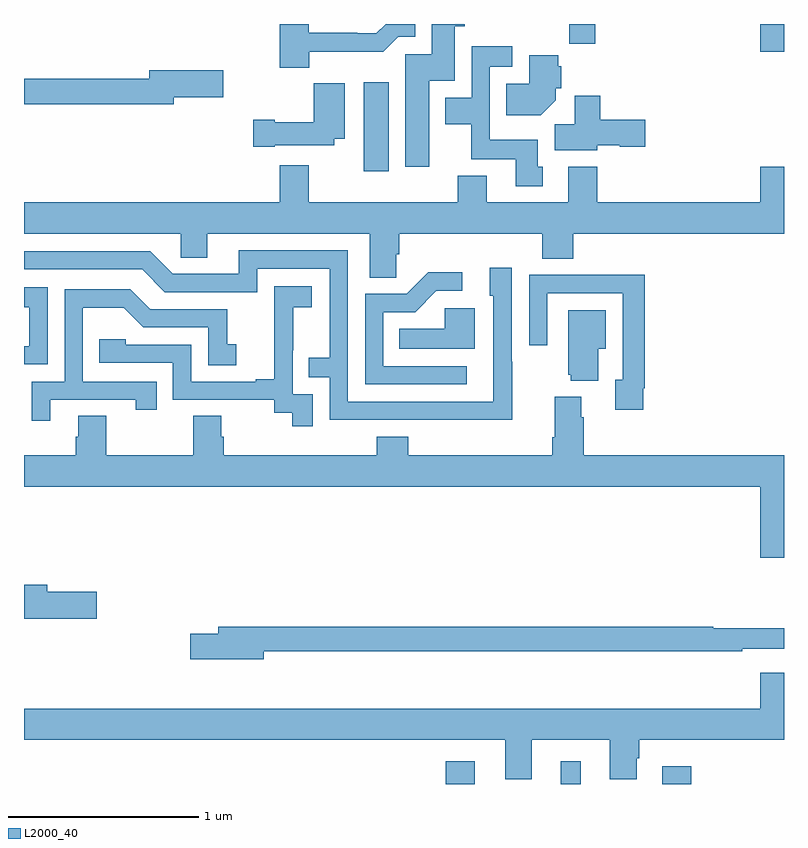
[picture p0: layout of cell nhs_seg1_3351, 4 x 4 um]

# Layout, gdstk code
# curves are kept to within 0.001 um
import gdstk
lib = gdstk.Library(unit=1e-6, precision=1e-09)
def R(c, l, rs):  # rectangles x0, y0, x1, y1
    for r in rs: c.add(gdstk.rectangle(r[:2], r[2:], *l))
def P(c, l, *ps):  # polygons
    for p in ps: c.add(gdstk.Polygon(p, *l))
L2000_40 = (2000, 40)

nhs_seg1_3351 = lib.new_cell('nhs_seg1_3351')
R(nhs_seg1_3351, L2000_40, [(295.22,518.199,295.372,518.32), (295.826,518.199,295.93,518.32), (296.36,518.199,296.513,518.293), (294.788,521.424,294.919,521.893), (296.876,522.054,297,522.199), (295.87,522.096,296.006,522.199)])
P(nhs_seg1_3351, L2000_40, [(294.502,522.054),(294.891,522.054),(294.969,522.132),(295.06,522.132),(295.06,522.199),(294.903,522.199),(294.854,522.15),(294.755,522.15),(294.755,522.153),(294.499,522.153),(294.499,522.199),(294.347,522.199),(294.347,521.969),(294.502,521.969)],
  [(295.132,521.9),(295.267,521.9),(295.267,522.187),(295.319,522.187),(295.319,522.199),(295.145,522.199),(295.145,522.039),(295.007,522.039),(295.007,521.448),(295.132,521.448)],
  [(295.729,521.448),(295.705,521.448),(295.705,521.59),(295.452,521.59),(295.452,521.973),(295.57,521.973),(295.57,522.082),(295.356,522.082),(295.356,521.812),(295.217,521.812),(295.217,521.672),(295.354,521.672),(295.354,521.486),(295.589,521.486),(295.589,521.346),(295.729,521.346)],
  [(295.798,521.798),(295.798,521.862),(295.828,521.862),(295.828,521.976),(295.811,521.976),(295.811,522.034),(295.658,522.034),(295.658,521.884),(295.537,521.884),(295.537,521.72),(295.72,521.72)],
  [(293.788,521.813),(294.049,521.813),(294.049,521.955),(293.66,521.955),(293.66,521.912),(293,521.912),(293,521.776),(293.788,521.776)],
  [(294.319,521.561),(294.633,521.561),(294.633,521.594),(294.688,521.594),(294.688,521.887),(294.526,521.887),(294.526,521.683),(294.319,521.683),(294.319,521.696),(294.207,521.696),(294.207,521.554),(294.319,521.554)],
  [(296.016,521.561),(296.136,521.561),(296.136,521.554),(296.269,521.554),(296.269,521.696),(296.033,521.696),(296.033,521.821),(295.898,521.821),(295.898,521.672),(295.793,521.672),(295.793,521.534),(296.016,521.534)],
  [(294.96,520.987),(294.974,520.987),(294.974,521.096),(295.727,521.096),(295.727,520.963),(295.892,520.963),(295.892,521.096),(297,521.096),(297,521.449),(296.876,521.449),(296.876,521.26),(296.018,521.26),(296.018,521.449),(295.865,521.449),(295.865,521.26),(295.435,521.26),(295.435,521.401),(295.283,521.401),(295.283,521.26),(294.499,521.26),(294.499,521.455),(294.347,521.455),(294.347,521.26),(293,521.26),(293,521.096),(293.826,521.096),(293.826,520.969),(293.965,520.969),(293.965,521.096),(294.821,521.096),(294.821,520.864),(294.96,520.864)],
  [(295.569,520.421),(295.566,520.421),(295.566,520.915),(295.451,520.915),(295.451,520.77),(295.47,520.77),(295.469,520.212),(294.705,520.212),(294.705,521.007),(294.131,521.007),(294.131,520.884),(293.784,520.884),(293.664,521.004),(293,521.004),(293,520.908),(293.622,520.908),(293.742,520.788),(294.228,520.788),(294.228,520.911),(294.609,520.911),(294.609,520.442),(294.499,520.442),(294.499,520.341),(294.609,520.341),(294.609,520.116),(295.569,520.115)],
  [(295.33,520.398),(294.891,520.398),(294.891,520.683),(295.06,520.683),(295.171,520.794),(295.306,520.794),(295.306,520.892),(295.127,520.892),(295.014,520.779),(294.795,520.779),(294.795,520.302),(295.33,520.302)],
  [(296.26,520.282),(296.267,520.282),(296.267,520.88),(295.975,520.88),(295.975,520.878),(295.659,520.878),(295.659,520.509),(295.755,520.509),(295.755,520.782),(296.151,520.782),(296.151,520.326),(296.111,520.326),(296.111,520.17),(296.26,520.17)],
  [(294.519,520.251),(294.414,520.251),(294.414,520.481),(294.416,520.481),(294.416,520.709),(294.514,520.709),(294.514,520.819),(294.316,520.819),(294.316,520.613),(294.317,520.613),(294.317,520.33),(294.221,520.33),(294.221,520.317),(293.88,520.317),(293.88,520.512),(293.535,520.512),(293.535,520.539),(293.395,520.539),(293.395,520.416),(293.784,520.416),(293.784,520.221),(294.318,520.221),(294.318,520.153),(294.411,520.153),(294.411,520.083),(294.519,520.083)],
  [(293.124,520.813),(293,520.813),(293,520.707),(293.027,520.707),(293.027,520.503),(293,520.503),(293,520.407),(293.124,520.407)],
  [(293.137,520.221),(293.588,520.221),(293.588,520.17),(293.699,520.17),(293.699,520.317),(293.31,520.317),(293.31,520.706),(293.524,520.706),(293.628,520.602),(293.97,520.602),(293.97,520.404),(294.118,520.404),(294.118,520.513),(294.069,520.513),(294.069,520.698),(293.665,520.698),(293.56,520.803),(293.214,520.803),(293.214,520.317),(293.04,520.317),(293.04,520.11),(293.137,520.11)],
  [(295.372,520.702),(295.215,520.702),(295.215,520.594),(294.976,520.594),(294.976,520.49),(295.372,520.49)],
  [(296.023,520.49),(296.062,520.49),(296.062,520.693),(295.865,520.693),(295.865,520.353),(295.877,520.353),(295.877,520.322),(296.023,520.322)],
  [(297,519.928),(295.946,519.928),(295.946,520.13),(295.933,520.13),(295.933,520.237),(295.793,520.237),(295.793,520.024),(295.781,520.024),(295.781,519.928),(295.022,519.928),(295.022,520.027),(294.857,520.027),(294.857,519.928),(294.05,519.928),(294.05,520.026),(294.037,520.026),(294.037,520.136),(293.89,520.136),(293.89,519.928),(293.433,519.928),(293.433,520.136),(293.285,520.136),(293.285,520.026),(293.273,520.026),(293.273,519.928),(293,519.928),(293,519.764),(296.876,519.764),(296.876,519.39),(297,519.39)],
  [(293.383,519.212),(293.122,519.212),(293.122,519.248),(293,519.248),(293,519.07),(293.383,519.07)],
  [(294.262,518.898),(296.78,518.898),(296.78,518.91),(297,518.91),(297,519.019),(296.627,519.019),(296.627,519.026),(294.023,519.026),(294.023,518.99),(293.874,518.99),(293.874,518.855),(294.262,518.855)],
  [(295.672,518.432),(296.084,518.432),(296.084,518.224),(296.224,518.224),(296.224,518.334),(296.237,518.334),(296.237,518.432),(297,518.432),(297,518.785),(296.876,518.785),(296.876,518.596),(293,518.596),(293,518.432),(295.532,518.432),(295.532,518.224),(295.672,518.224)])

lib.write_gds('nhs_seg1_3351.gds')
